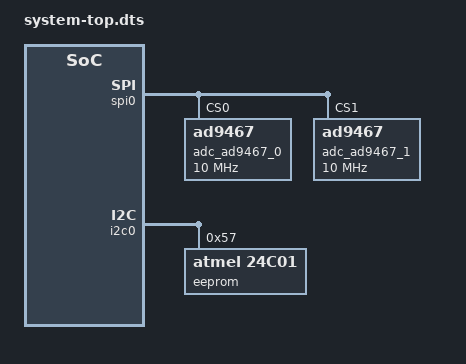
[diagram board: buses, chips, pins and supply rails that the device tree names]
/dts-v1/;
/include/ "system-conf.dtsi"
/{
    clocks{
	adc_clk: clock{
	    #clock-cells = <0>;
	    compatible = "fixed-clock";
	    clock-frequency = <250000000>;
	    clock-output-names = "adc_refclk";
	};
    };
};
&spi0{
	adc_ad9467_0: ad9467@0 {
		#address-cells = <1>;
		#size-cells = <0>;
		compatible = "ad9467";
		reg = <0>;
		spi-max-frequency = <10000000>;
		clocks = <&adc_clk 0>;
		adi,spi-3wire-enable;
	};

	adc_ad9467_1: ad9467@1 {
		#address-cells = <1>;
		#size-cells = <0>;
		compatible = "ad9467";
		reg = <1>;
		spi-max-frequency = <10000000>;
		clocks = <&adc_clk 0>;
		adi,spi-3wire-enable;
	};
};

&i2c0 {
    eeprom: eeprom@57 {
        compatible = "atmel,24c01";
        reg = <0x57>;
    };
};

&axi_ad9467_0{
	dmas = <&axi_dmac_0 0>;
	dma-names = "rx";
	spibus-connected = <&adc_ad9467_0>;
};
&axi_ad9467_1{
        dmas = <&axi_dmac_1 0>;
        dma-names = "rx";
        spibus-connected = <&adc_ad9467_1>;
};         
&axi_dmac_0{
        #dma-cells = <1>;
	clocks = <&clkc 15>;
        dma-channel {
                adi,type = <0x0>;
        };
};
&axi_dmac_1{
        #dma-cells = <1>;
	clocks = <&clkc 15>;
	dma-channel {
        	adi,type = <0x0>;
        };
};

